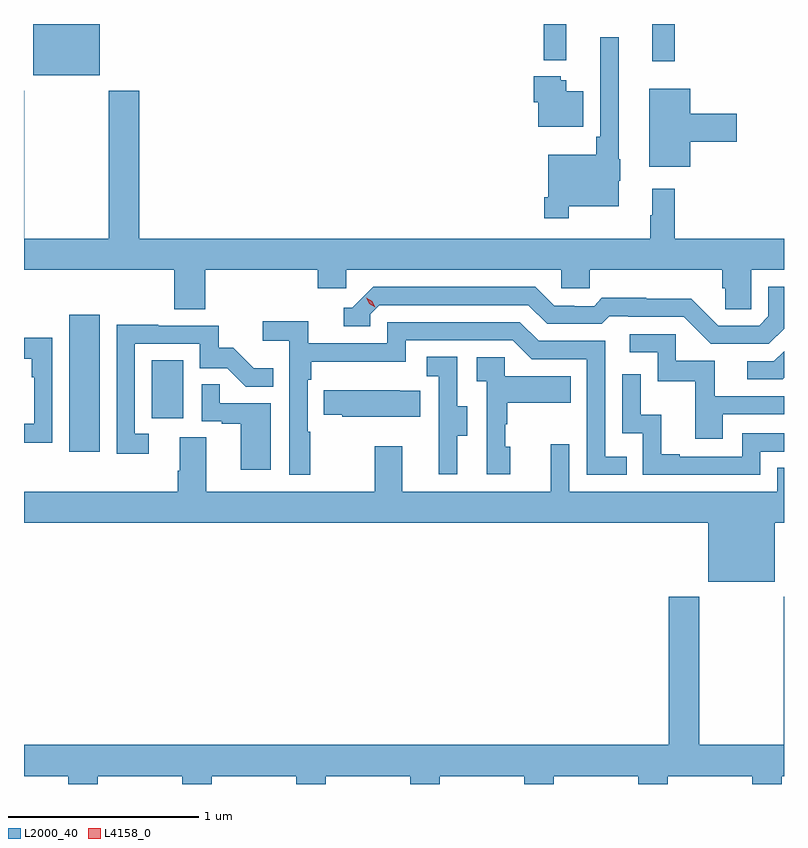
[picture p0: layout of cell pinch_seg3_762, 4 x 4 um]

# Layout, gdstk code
import gdstk
lib = gdstk.Library(unit=1e-6, precision=1e-09)
def R(c, l, rs):  # rectangles x0, y0, x1, y1
    for r in rs: c.add(gdstk.rectangle(r[:2], r[2:], *l))
def P(c, l, *ps):  # polygons
    for p in ps: c.add(gdstk.Polygon(p, *l))
L2000_40 = (2000, 40)
L4158_0 = (4158, 0)

pinch_seg3_762 = lib.new_cell('pinch_seg3_762')
R(pinch_seg3_762, L2000_40, [(817.121,734.592,817.282,735.313), (817.556,734.766,817.72,735.073), (816.932,736.571,817.282,736.842), (820.19,736.647,820.307,736.842), (819.619,736.652,819.737,736.842)])
P(pinch_seg3_762, L2000_40, [(819.751,735.884),(820.012,735.884),(820.012,736.017),(820.021,736.017),(820.021,736.131),(820.012,736.131),(820.012,736.771),(819.915,736.771),(819.915,736.249),(819.895,736.249),(819.895,736.153),(819.642,736.153),(819.642,735.931),(819.622,735.931),(819.622,735.819),(819.751,735.819)],
  [(819.826,736.489),(819.736,736.489),(819.736,736.545),(819.708,736.545),(819.708,736.567),(819.566,736.567),(819.566,736.431),(819.59,736.431),(819.59,736.301),(819.826,736.301)],
  [(820.39,736.223),(820.633,736.223),(820.633,736.37),(820.39,736.37),(820.39,736.501),(820.175,736.501),(820.175,736.091),(820.39,736.091)],
  [(817.838,735.548),(818.429,735.548),(818.429,735.45),(818.58,735.45),(818.58,735.548),(819.711,735.548),(819.711,735.45),(819.861,735.45),(819.861,735.548),(820.559,735.548),(820.559,735.45),(820.573,735.45),(820.573,735.34),(820.71,735.34),(820.71,735.548),(820.883,735.548),(820.883,735.712),(820.307,735.712),(820.307,735.976),(820.19,735.976),(820.19,735.836),(820.179,735.836),(820.179,735.712),(817.49,735.712),(817.49,736.492),(817.33,736.492),(817.33,735.712),(816.885,735.712),(816.885,736.492),(816.883,736.492),(816.883,735.548),(817.673,735.548),(817.673,735.34),(817.838,735.34)],
  [(820.883,735.239),(820.883,735.459),(820.8,735.459),(820.8,735.303),(820.752,735.255),(820.536,735.255),(820.394,735.397),(820.158,735.397),(820.158,735.4),(819.925,735.4),(819.883,735.357),(819.78,735.357),(819.78,735.36),(819.673,735.36),(819.574,735.459),(818.721,735.459),(818.61,735.348),(818.567,735.348),(818.567,735.252),(818.706,735.252),(818.706,735.315),(818.754,735.363),(819.537,735.363),(819.636,735.264),(819.925,735.264),(819.964,735.303),(820.063,735.303),(820.063,735.3),(820.356,735.3),(820.497,735.159),(820.803,735.159)],
  [(818.389,734.696),(818.376,734.696),(818.376,734.969),(818.396,734.969),(818.396,735.065),(818.892,735.065),(818.892,735.177),(819.456,735.177),(819.555,735.078),(819.846,735.078),(819.846,734.469),(820.055,734.469),(820.055,734.565),(819.942,734.565),(819.942,735.174),(819.592,735.174),(819.493,735.273),(818.796,735.273),(818.796,735.162),(818.378,735.162),(818.378,735.278),(818.139,735.278),(818.139,735.176),(818.28,735.176),(818.28,734.469),(818.389,734.469)],
  [(817.54,734.685),(817.467,734.685),(817.467,735.159),(817.809,735.159),(817.809,735.03),(817.953,735.03),(818.051,734.932),(818.195,734.932),(818.195,735.031),(818.091,735.031),(817.984,735.138),(817.908,735.138),(817.908,735.255),(817.589,735.255),(817.589,735.26),(817.371,735.26),(817.371,734.58),(817.54,734.58)],
  [(820.561,734.787),(820.883,734.787),(820.883,734.883),(820.519,734.883),(820.519,735.069),(820.314,735.069),(820.314,735.21),(820.071,735.21),(820.071,735.114),(820.218,735.114),(820.218,734.961),(820.417,734.961),(820.417,734.658),(820.561,734.658)],
  [(817.032,735.19),(816.883,735.19),(816.883,735.08),(816.923,735.08),(816.923,734.984),(816.936,734.984),(816.936,734.739),(816.883,734.739),(816.883,734.638),(817.032,734.638)],
  [(820.883,734.98),(820.883,735.119),(820.83,735.066),(820.689,735.066),(820.689,734.973),(820.876,734.973)],
  [(819.163,734.674),(819.217,734.674),(819.217,734.829),(819.162,734.829),(819.162,735.092),(819.003,735.092),(819.003,734.989),(819.066,734.989),(819.066,734.685),(819.065,734.685),(819.065,734.472),(819.163,734.472)],
  [(819.442,734.616),(819.417,734.616),(819.417,734.735),(819.427,734.735),(819.427,734.849),(819.761,734.849),(819.761,734.989),(819.414,734.989),(819.414,735.087),(819.267,735.087),(819.267,734.963),(819.318,734.963),(819.318,734.472),(819.442,734.472)],
  [(820.758,734.592),(820.883,734.592),(820.883,734.688),(820.662,734.688),(820.662,734.565),(820.333,734.565),(820.333,734.578),(820.238,734.578),(820.238,734.786),(820.128,734.786),(820.128,734.998),(820.032,734.998),(820.032,734.688),(820.14,734.688),(820.14,734.469),(820.758,734.469)],
  [(818.182,734.847),(817.913,734.847),(817.913,734.945),(817.818,734.945),(817.818,734.751),(817.925,734.751),(817.925,734.739),(818.024,734.739),(818.024,734.496),(818.182,734.496)],
  [(818.969,734.911),(818.861,734.911),(818.861,734.914),(818.461,734.914),(818.461,734.785),(818.559,734.785),(818.559,734.774),(818.969,734.774)],
  [(820.834,734.216),(820.883,734.216),(820.883,734.507),(820.848,734.507),(820.848,734.38),(819.753,734.38),(819.753,734.629),(819.656,734.629),(819.656,734.38),(818.875,734.38),(818.875,734.62),(818.728,734.62),(818.728,734.38),(817.843,734.38),(817.843,734.666),(817.703,734.666),(817.703,734.492),(817.691,734.492),(817.691,734.38),(816.883,734.38),(816.883,734.216),(820.484,734.216),(820.484,733.907),(820.834,733.907)],
  [(816.883,732.884),(817.117,732.884),(817.117,732.842),(817.272,732.842),(817.272,732.884),(817.717,732.884),(817.717,732.842),(817.872,732.842),(817.872,732.884),(818.317,732.884),(818.317,732.842),(818.472,732.842),(818.472,732.884),(818.917,732.884),(818.917,732.842),(819.072,732.842),(819.072,732.884),(819.517,732.884),(819.517,732.842),(819.672,732.842),(819.672,732.884),(820.117,732.884),(820.117,732.842),(820.272,732.842),(820.272,732.884),(820.717,732.884),(820.717,732.842),(820.872,732.842),(820.872,732.884),(820.883,732.884),(820.883,733.828),(820.882,733.828),(820.882,733.048),(820.437,733.048),(820.437,733.828),(820.277,733.828),(820.277,733.048),(816.883,733.048)])
P(pinch_seg3_762, L4158_0, [(818.731,735.35),(818.7,735.369),(818.684,735.402),(818.684,735.402),(818.684,735.402),(818.715,735.383),(818.731,735.35),(818.731,735.35)])

lib.write_gds('pinch_seg3_762.gds')
